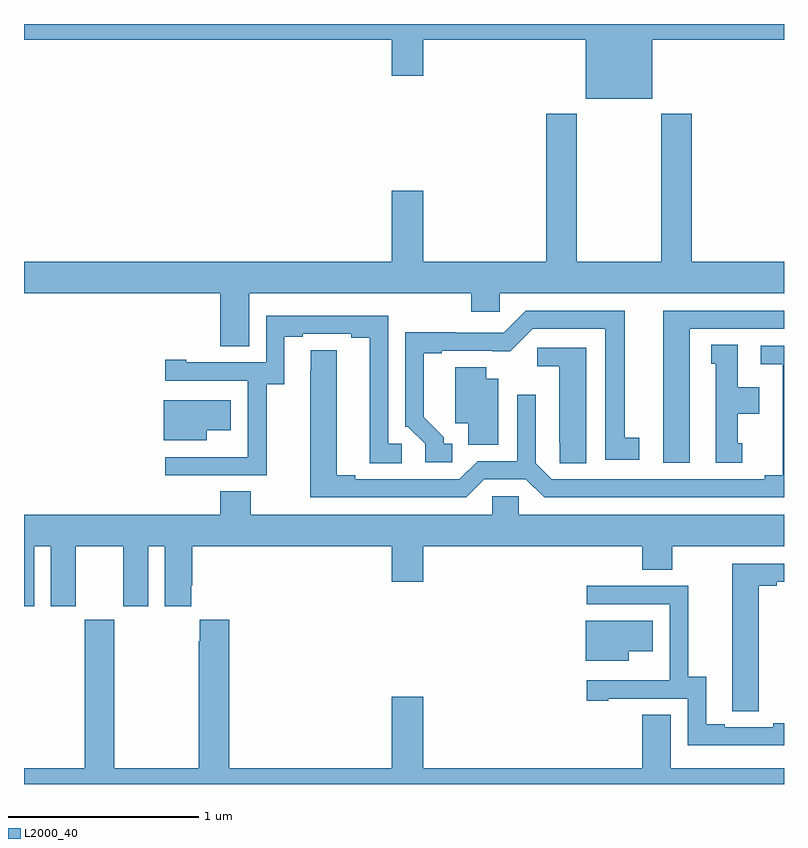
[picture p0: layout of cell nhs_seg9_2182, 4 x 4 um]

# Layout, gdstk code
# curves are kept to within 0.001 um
import gdstk
lib = gdstk.Library(unit=1e-6, precision=1e-09)
def P(c, l, *ps):  # polygons
    for p in ps: c.add(gdstk.Polygon(p, *l))
L2000_40 = (2000, 40)

nhs_seg9_2182 = lib.new_cell('nhs_seg9_2182')
P(nhs_seg9_2182, L2000_40, [(238.306,1200.416),(239,1200.416),(239,1200.5),(235,1200.5),(235,1200.416),(236.936,1200.416),(236.936,1200.228),(237.1,1200.228),(237.1,1200.416),(237.956,1200.416),(237.956,1200.107),(238.306,1200.107)],
  [(236.185,1199.084),(237.353,1199.084),(237.353,1198.986),(237.504,1198.986),(237.504,1199.084),(239,1199.084),(239,1199.248),(238.514,1199.248),(238.514,1200.028),(238.354,1200.028),(238.354,1199.248),(237.909,1199.248),(237.909,1200.028),(237.749,1200.028),(237.749,1199.248),(237.1,1199.248),(237.1,1199.623),(236.936,1199.623),(236.936,1199.248),(235,1199.248),(235,1199.084),(236.033,1199.084),(236.033,1198.804),(236.185,1198.804)],
  [(238.504,1198.896),(239,1198.896),(239,1198.992),(238.364,1198.992),(238.364,1198.191),(238.504,1198.191)],
  [(237.253,1198.29),(237.208,1198.29),(237.208,1198.325),(237.103,1198.43),(237.103,1198.767),(237.199,1198.767),(237.199,1198.779),(237.56,1198.778),(237.678,1198.896),(238.058,1198.896),(238.058,1198.206),(238.237,1198.206),(238.237,1198.322),(238.162,1198.322),(238.162,1198.992),(237.642,1198.992),(237.525,1198.875),(237.269,1198.875),(237.269,1198.877),(237.006,1198.877),(237.006,1198.38),(237.021,1198.38),(237.111,1198.29),(237.111,1198.194),(237.253,1198.194)],
  [(236.277,1198.603),(236.371,1198.603),(236.371,1198.854),(236.467,1198.854),(236.467,1198.869),(236.723,1198.869),(236.723,1198.849),(236.819,1198.849),(236.819,1198.189),(236.989,1198.189),(236.989,1198.29),(236.916,1198.29),(236.916,1198.965),(236.274,1198.965),(236.274,1198.719),(235.855,1198.719),(235.855,1198.732),(235.743,1198.732),(235.743,1198.623),(236.178,1198.623),(236.178,1198.222),(236.177,1198.222),(236.177,1198.221),(235.743,1198.221),(235.743,1198.125),(236.277,1198.125)],
  [(238.78,1198.293),(238.756,1198.293),(238.756,1198.448),(238.87,1198.448),(238.87,1198.588),(238.756,1198.588),(238.756,1198.811),(238.616,1198.811),(238.616,1198.713),(238.64,1198.713),(238.64,1198.191),(238.78,1198.191)],
  [(237.423,1198.104),(237.641,1198.104),(237.737,1198.008),(239,1198.008),(239,1198.806),(238.878,1198.806),(238.878,1198.71),(238.994,1198.71),(238.994,1198.124),(238.898,1198.124),(238.898,1198.104),(237.777,1198.104),(237.693,1198.188),(237.693,1198.549),(237.597,1198.549),(237.597,1198.2),(237.387,1198.2),(237.291,1198.104),(236.743,1198.104),(236.743,1198.124),(236.647,1198.124),(236.647,1198.784),(236.508,1198.784),(236.507,1198.008),(237.327,1198.008)],
  [(237.958,1198.797),(237.702,1198.797),(237.702,1198.7),(237.818,1198.7),(237.818,1198.297),(237.819,1198.297),(237.819,1198.189),(237.958,1198.189)],
  [(237.496,1198.633),(237.433,1198.633),(237.433,1198.694),(237.269,1198.694),(237.269,1198.4),(237.338,1198.4),(237.338,1198.285),(237.496,1198.285)],
  [(235.963,1198.361),(236.089,1198.361),(236.089,1198.519),(235.736,1198.519),(235.736,1198.31),(235.963,1198.31)],
  [(235.054,1197.752),(235.142,1197.752),(235.142,1197.435),(235.273,1197.435),(235.273,1197.752),(235.523,1197.752),(235.523,1197.435),(235.654,1197.435),(235.654,1197.752),(235.742,1197.752),(235.742,1197.435),(235.879,1197.435),(235.879,1197.547),(235.886,1197.547),(235.886,1197.752),(236.936,1197.752),(236.936,1197.564),(237.1,1197.564),(237.1,1197.752),(238.253,1197.752),(238.253,1197.628),(238.413,1197.628),(238.413,1197.752),(239,1197.752),(239,1197.916),(237.603,1197.916),(237.603,1198.014),(237.465,1198.014),(237.465,1197.916),(236.193,1197.916),(236.193,1198.04),(236.033,1198.04),(236.033,1197.916),(235,1197.916),(235,1197.435),(235.054,1197.435)],
  [(238.867,1197.544),(238.963,1197.544),(238.963,1197.564),(239,1197.564),(239,1197.66),(238.727,1197.66),(238.727,1196.992),(238.728,1196.992),(238.728,1196.884),(238.867,1196.884)],
  [(239,1196.819),(238.943,1196.819),(238.943,1196.799),(238.687,1196.799),(238.687,1196.814),(238.591,1196.814),(238.591,1197.065),(238.497,1197.065),(238.497,1197.543),(237.963,1197.543),(237.963,1197.447),(238.398,1197.447),(238.398,1197.046),(238.397,1197.046),(238.397,1197.045),(237.963,1197.045),(237.963,1196.937),(238.075,1196.937),(238.075,1196.949),(238.494,1196.949),(238.494,1196.703),(239,1196.703)],
  [(239,1196.584),(238.405,1196.584),(238.405,1196.864),(238.253,1196.864),(238.253,1196.584),(237.1,1196.584),(237.1,1196.959),(236.936,1196.959),(236.936,1196.584),(236.081,1196.584),(236.081,1197.364),(235.925,1197.364),(235.925,1197.251),(235.921,1197.251),(235.921,1196.584),(235.476,1196.584),(235.476,1197.364),(235.321,1197.364),(235.321,1196.584),(235,1196.584),(235,1196.5),(239,1196.5)],
  [(238.183,1197.2),(238.309,1197.2),(238.309,1197.358),(237.956,1197.358),(237.956,1197.149),(238.183,1197.149)])

lib.write_gds('nhs_seg9_2182.gds')
